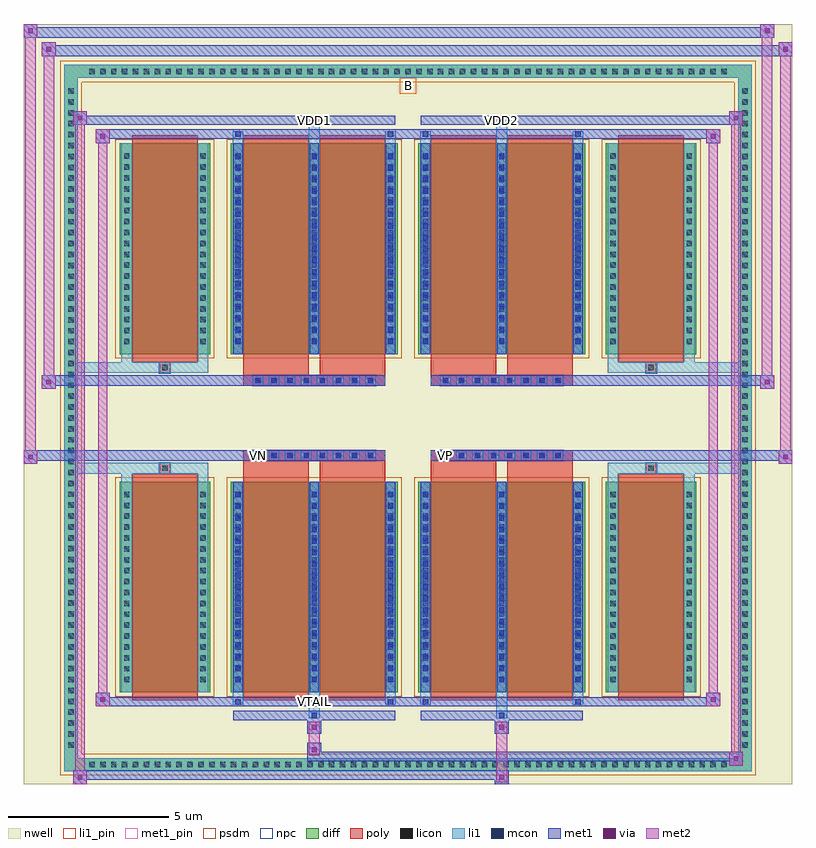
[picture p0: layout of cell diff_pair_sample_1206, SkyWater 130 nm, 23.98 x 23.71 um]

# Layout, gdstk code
import gdstk
lib = gdstk.Library(unit=1e-6, precision=5e-09)
def R(c, l, rs):  # rectangles x0, y0, x1, y1
    for r in rs: c.add(gdstk.rectangle(r[:2], r[2:], *l))
def A(c, l, x, y, w, h, nx, ny, dx, dy):  # array of equal rectangles
    R(c, l, [(x+i*dx, y+j*dy, x+i*dx+w, y+j*dy+h) for i in range(nx) for j in range(ny)])
def P(c, l, *ps):  # polygons
    for p in ps: c.add(gdstk.Polygon(p, *l))
nwell = (64, 20)
diff = (65, 20)
poly = (66, 20)
licon = (66, 44)
li1_pin = (67, 16)
li1 = (67, 20)
mcon = (67, 44)
met1_pin = (68, 16)
met1 = (68, 20)
via = (68, 44)
met2 = (69, 20)
psdm = (94, 20)
npc = (95, 20)

diff_pair_sample_1206 = lib.new_cell('diff_pair_sample_1206')
R(diff_pair_sample_1206, nwell, [(-11.99,-11.42,11.99,12.29), (-9.31,-9.61,-0.01,-0.805), (0.01,-9.61,9.31,-0.805), (-9.31,0.805,-0.01,9.61), (0.01,0.805,9.31,9.61)])
A(diff_pair_sample_1206, diff, -10.065, -11.02, 0.41, 0.41, 59, 2, 0.34, 21.63)
A(diff_pair_sample_1206, diff, -10.72, -10.405, 0.41, 0.41, 1, 61, 0, 0.34)
A(diff_pair_sample_1206, diff, 10.31, -10.405, 0.41, 0.41, 1, 61, 0, 0.34)
R(diff_pair_sample_1206, diff, [(-10.065,-11.02,10.065,-10.61), (-10.72,-10.405,-10.31,10.405), (10.31,-10.405,10.72,10.405), (-9,-8.565,-6.17,-1.985), (-5.53,-8.565,-0.32,-1.985), (0.32,-8.565,5.53,-1.985), (6.17,-8.565,9,-1.985), (-9,1.985,-6.17,8.565), (-5.53,1.985,-0.32,8.565), (0.32,1.985,5.53,8.565), (6.17,1.985,9,8.565), (-10.065,10.61,10.065,11.02)])
P(diff_pair_sample_1206, diff, [(10.72,11.02),(-10.72,11.02),(-10.72,-10.61),(-10.31,-10.61),(-10.31,10.61),(10.31,10.61),(10.31,-10.61),(-10.31,-10.61),(-10.72,-10.61),(-10.72,-11.02),(10.72,-11.02)])
A(diff_pair_sample_1206, poly, -4.84, -1.335, 0.33, 0.33, 8, 2, 0.5, 2.34)
A(diff_pair_sample_1206, poly, 1.01, -1.335, 0.33, 0.33, 8, 2, 0.5, 2.34)
R(diff_pair_sample_1206, poly, [(-8.61,-8.815,-6.56,-1.735), (-5.14,-8.815,-3.09,-1.735), (-2.76,-8.815,-0.71,-1.735), (0.71,-8.815,2.76,-1.735), (3.09,-8.815,5.14,-1.735), (6.56,-8.815,8.61,-1.735), (-7.75,-1.735,-7.42,-1.405), (-7.75,-1.735,-7.42,-1.405), (-5.14,-1.735,-3.09,-1.335), (-2.76,-1.735,-0.71,-1.335), (0.71,-1.735,2.76,-1.335), (3.09,-1.735,5.14,-1.335), (7.42,-1.735,7.75,-1.405), (7.42,-1.735,7.75,-1.405), (-5.14,-1.335,-0.71,-1.005), (0.71,-1.335,5.14,-1.005), (-5.14,1.005,-0.71,1.335), (0.71,1.005,5.14,1.335), (-5.14,1.335,-3.09,1.735), (-2.76,1.335,-0.71,1.735), (0.71,1.335,2.76,1.735), (3.09,1.335,5.14,1.735), (-7.75,1.405,-7.42,1.735), (-7.75,1.405,-7.42,1.735), (7.42,1.405,7.75,1.735), (7.42,1.405,7.75,1.735), (-8.61,1.735,-6.56,8.815), (-5.14,1.735,-3.09,8.815), (-2.76,1.735,-0.71,8.815), (0.71,1.735,2.76,8.815), (3.09,1.735,5.14,8.815), (6.56,1.735,8.61,8.815)])
A(diff_pair_sample_1206, licon, -9.945, -10.9, 0.17, 0.17, 59, 2, 0.34, 21.63)
A(diff_pair_sample_1206, licon, -10.6, -10.285, 0.17, 0.17, 1, 61, 0, 0.34)
A(diff_pair_sample_1206, licon, 10.43, -10.285, 0.17, 0.17, 1, 61, 0, 0.34)
A(diff_pair_sample_1206, licon, -8.86, -8.25, 0.17, 0.17, 1, 18, 0, 0.34)
A(diff_pair_sample_1206, licon, -6.48, -8.25, 0.17, 0.17, 1, 18, 0, 0.34)
A(diff_pair_sample_1206, licon, -5.39, -8.25, 0.17, 0.17, 3, 18, 2.38, 0.34)
A(diff_pair_sample_1206, licon, 0.46, -8.25, 0.17, 0.17, 3, 18, 2.38, 0.34)
A(diff_pair_sample_1206, licon, 6.31, -8.25, 0.17, 0.17, 1, 18, 0, 0.34)
A(diff_pair_sample_1206, licon, 8.69, -8.25, 0.17, 0.17, 1, 18, 0, 0.34)
A(diff_pair_sample_1206, licon, -4.76, -1.255, 0.17, 0.17, 8, 2, 0.5, 2.34)
A(diff_pair_sample_1206, licon, 1.09, -1.255, 0.17, 0.17, 8, 2, 0.5, 2.34)
A(diff_pair_sample_1206, licon, -8.86, 2.3, 0.17, 0.17, 1, 18, 0, 0.34)
A(diff_pair_sample_1206, licon, -6.48, 2.3, 0.17, 0.17, 1, 18, 0, 0.34)
A(diff_pair_sample_1206, licon, -5.39, 2.3, 0.17, 0.17, 3, 18, 2.38, 0.34)
A(diff_pair_sample_1206, licon, 0.46, 2.3, 0.17, 0.17, 3, 18, 2.38, 0.34)
A(diff_pair_sample_1206, licon, 6.31, 2.3, 0.17, 0.17, 1, 18, 0, 0.34)
A(diff_pair_sample_1206, licon, 8.69, 2.3, 0.17, 0.17, 1, 18, 0, 0.34)
R(diff_pair_sample_1206, licon, [(-7.67,-1.655,-7.5,-1.485), (7.5,-1.655,7.67,-1.485), (-7.67,1.485,-7.5,1.655), (7.5,1.485,7.67,1.655)])
R(diff_pair_sample_1206, li1_pin, [(-0.25,10.11,0.25,10.61)])
A(diff_pair_sample_1206, li1, -10.025, -10.98, 0.33, 0.33, 59, 2, 0.34, 21.63)
A(diff_pair_sample_1206, li1, -10.68, -10.365, 0.33, 0.33, 1, 61, 0, 0.34)
A(diff_pair_sample_1206, li1, 10.35, -10.365, 0.33, 0.33, 1, 61, 0, 0.34)
A(diff_pair_sample_1206, li1, -5.47, -8.565, 0.33, 6.58, 3, 2, 2.38, 10.55)
A(diff_pair_sample_1206, li1, 0.38, -8.565, 0.33, 6.58, 3, 2, 2.38, 10.55)
A(diff_pair_sample_1206, li1, -8.94, -8.33, 0.33, 0.33, 1, 18, 0, 0.34)
A(diff_pair_sample_1206, li1, -6.56, -8.33, 0.33, 0.33, 1, 18, 0, 0.34)
A(diff_pair_sample_1206, li1, -5.47, -8.33, 0.33, 0.33, 3, 18, 2.38, 0.34)
A(diff_pair_sample_1206, li1, 0.38, -8.33, 0.33, 0.33, 3, 18, 2.38, 0.34)
A(diff_pair_sample_1206, li1, 6.23, -8.33, 0.33, 0.33, 1, 18, 0, 0.34)
A(diff_pair_sample_1206, li1, 8.61, -8.33, 0.33, 0.33, 1, 18, 0, 0.34)
A(diff_pair_sample_1206, li1, -5.39, -8.24, 0.17, 0.17, 3, 17, 2.38, 0.36)
A(diff_pair_sample_1206, li1, -5.39, -8.24, 0.17, 5.93, 3, 2, 2.38, 10.55)
A(diff_pair_sample_1206, li1, 0.46, -8.24, 0.17, 0.17, 3, 17, 2.38, 0.36)
A(diff_pair_sample_1206, li1, 0.46, -8.24, 0.17, 5.93, 3, 2, 2.38, 10.55)
A(diff_pair_sample_1206, li1, -4.84, -1.335, 0.33, 0.33, 8, 2, 0.5, 2.34)
A(diff_pair_sample_1206, li1, 1.01, -1.335, 0.33, 0.33, 8, 2, 0.5, 2.34)
A(diff_pair_sample_1206, li1, -8.94, 2.22, 0.33, 0.33, 1, 18, 0, 0.34)
A(diff_pair_sample_1206, li1, -6.56, 2.22, 0.33, 0.33, 1, 18, 0, 0.34)
A(diff_pair_sample_1206, li1, -5.47, 2.22, 0.33, 0.33, 3, 18, 2.38, 0.34)
A(diff_pair_sample_1206, li1, 0.38, 2.22, 0.33, 0.33, 3, 18, 2.38, 0.34)
A(diff_pair_sample_1206, li1, 6.23, 2.22, 0.33, 0.33, 1, 18, 0, 0.34)
A(diff_pair_sample_1206, li1, 8.61, 2.22, 0.33, 0.33, 1, 18, 0, 0.34)
A(diff_pair_sample_1206, li1, -5.39, 2.31, 0.17, 0.17, 3, 17, 2.38, 0.36)
A(diff_pair_sample_1206, li1, 0.46, 2.31, 0.17, 0.17, 3, 17, 2.38, 0.36)
R(diff_pair_sample_1206, li1, [(-10.72,-11.02,-10.31,-10.61), (-10.72,-11.02,-10.31,-10.61), (-10.31,-11.02,10.31,-10.61), (10.31,-11.02,10.72,-10.61), (10.31,-11.02,10.72,-10.61), (-10.72,-10.61,-10.31,10.61), (10.31,-10.61,10.72,10.61), (-3.09,-9.37,-2.76,-8.565), (-3.01,-9.37,-2.84,-9.2), (2.76,-9.37,3.09,-8.565), (2.84,-9.37,3.01,-9.2), (-5.47,-8.94,-5.14,-8.565), (-5.39,-8.94,-5.22,-8.77), (-0.71,-8.94,-0.38,-8.565), (-0.63,-8.94,-0.46,-8.77), (0.38,-8.94,0.71,-8.565), (0.46,-8.94,0.63,-8.77), (5.14,-8.94,5.47,-8.565), (5.22,-8.94,5.39,-8.77), (-8.94,-8.565,-8.61,-1.985), (-6.56,-8.565,-6.23,-1.985), (6.23,-8.565,6.56,-1.985), (8.61,-8.565,8.94,-1.985), (-8.94,-1.985,-8.61,-1.405), (-6.56,-1.985,-6.23,-1.405), (6.23,-1.985,6.56,-1.405), (8.61,-1.985,8.94,-1.405), (-10.72,-1.735,-7.75,-1.405), (-8.94,-1.735,-7.75,-1.405), (-7.75,-1.735,-7.42,-1.405), (-7.42,-1.735,-6.23,-1.405), (6.23,-1.735,7.42,-1.405), (7.42,-1.735,7.75,-1.405), (7.42,-1.735,10.72,-1.405), (7.75,-1.735,8.94,-1.405), (-10.72,1.405,-7.75,1.735), (-8.94,1.405,-7.75,1.735), (-8.94,1.405,-8.61,1.985), (-7.75,1.405,-7.42,1.735), (-7.42,1.405,-6.23,1.735), (-6.56,1.405,-6.23,1.985), (6.23,1.405,7.42,1.735), (6.23,1.405,6.56,1.985), (7.42,1.405,7.75,1.735), (7.42,1.405,10.72,1.735), (7.75,1.405,8.94,1.735), (8.61,1.405,8.94,1.985), (-8.94,1.985,-8.61,8.565), (-6.56,1.985,-6.23,8.565), (6.23,1.985,6.56,8.565), (8.61,1.985,8.94,8.565), (-5.47,8.565,-5.14,8.94), (-3.09,8.565,-2.76,9.37), (-0.71,8.565,-0.38,8.94), (0.38,8.565,0.71,8.94), (2.76,8.565,3.09,9.37), (5.14,8.565,5.47,8.94), (-5.39,8.77,-5.22,8.94), (-0.63,8.77,-0.46,8.94), (0.46,8.77,0.63,8.94), (5.22,8.77,5.39,8.94), (-3.01,9.2,-2.84,9.37), (2.84,9.2,3.01,9.37), (-10.72,10.61,-10.31,11.02), (-10.72,10.61,-10.31,11.02), (-10.31,10.61,10.31,11.02), (10.31,10.61,10.72,11.02), (10.31,10.61,10.72,11.02)])
A(diff_pair_sample_1206, mcon, -5.39, -8.24, 0.17, 0.17, 3, 17, 2.38, 0.36)
A(diff_pair_sample_1206, mcon, 0.46, -8.24, 0.17, 0.17, 3, 17, 2.38, 0.36)
A(diff_pair_sample_1206, mcon, -4.76, -1.255, 0.17, 0.17, 8, 2, 0.5, 2.34)
A(diff_pair_sample_1206, mcon, 1.09, -1.255, 0.17, 0.17, 8, 2, 0.5, 2.34)
A(diff_pair_sample_1206, mcon, -5.39, 2.31, 0.17, 0.17, 3, 17, 2.38, 0.36)
A(diff_pair_sample_1206, mcon, 0.46, 2.31, 0.17, 0.17, 3, 17, 2.38, 0.36)
R(diff_pair_sample_1206, mcon, [(-3.01,-9.37,-2.84,-9.2), (2.84,-9.37,3.01,-9.2), (-5.39,-8.94,-5.22,-8.77), (-0.63,-8.94,-0.46,-8.77), (0.46,-8.94,0.63,-8.77), (5.22,-8.94,5.39,-8.77), (-5.39,8.77,-5.22,8.94), (-0.63,8.77,-0.46,8.94), (0.46,8.77,0.63,8.94), (5.22,8.77,5.39,8.94), (-3.01,9.2,-2.84,9.37), (2.84,9.2,3.01,9.37)])
R(diff_pair_sample_1206, met1_pin, [(-3.06,-8.98,-2.79,-8.71), (-4.81,-1.295,-4.54,-1.025), (1.04,-1.295,1.31,-1.025), (-3.06,9.16,-2.79,9.43), (2.79,9.16,3.06,9.43)])
A(diff_pair_sample_1206, met1, -5.45, -8.565, 0.29, 6.58, 3, 2, 2.38, 10.55)
A(diff_pair_sample_1206, met1, 0.4, -8.565, 0.29, 6.58, 3, 2, 2.38, 10.55)
A(diff_pair_sample_1206, met1, -5.45, -8.3, 0.29, 0.29, 3, 17, 2.38, 0.36)
A(diff_pair_sample_1206, met1, 0.4, -8.3, 0.29, 0.29, 3, 17, 2.38, 0.36)
A(diff_pair_sample_1206, met1, -4.82, -1.315, 0.29, 0.29, 8, 2, 0.5, 2.34)
A(diff_pair_sample_1206, met1, 1.03, -1.315, 0.29, 0.29, 8, 2, 0.5, 2.34)
A(diff_pair_sample_1206, met1, -5.45, 2.25, 0.29, 0.29, 3, 17, 2.38, 0.36)
A(diff_pair_sample_1206, met1, 0.4, 2.25, 0.29, 0.29, 3, 17, 2.38, 0.36)
R(diff_pair_sample_1206, met1, [(-10.45,-11.42,-10.02,-10.99), (2.71,-11.42,3.14,-10.99), (-10.45,-11.28,3.14,-10.99), (10.02,-10.85,10.45,-10.42), (-3.14,-10.71,10.45,-10.42), (-3.14,-10.57,-2.71,-10.14), (-3.14,-9.86,-2.71,-9.43), (2.71,-9.86,3.14,-9.43), (-5.45,-9.43,-0.4,-9.14), (-3.07,-9.43,-2.78,-9.14), (0.4,-9.43,5.45,-9.14), (2.78,-9.43,3.07,-9.14), (-9.74,-9,-9.31,-8.57), (-9.74,-9,-5.45,-8.71), (-5.45,-9,-5.16,-8.71), (-5.45,-9,-0.4,-8.71), (-0.69,-9,-0.4,-8.71), (-0.4,-9,0.4,-8.71), (0.4,-9,0.69,-8.71), (0.4,-9,5.45,-8.71), (5.16,-9,5.45,-8.71), (5.45,-9,9.74,-8.71), (9.31,-9,9.74,-8.57), (-11.99,-1.435,-11.56,-1.005), (11.56,-1.435,11.99,-1.005), (-11.99,-1.335,-0.71,-1.005), (-5.14,-1.335,-0.71,-1.005), (0.71,-1.335,5.14,-1.005), (0.71,-1.335,11.99,-1.005), (-11.42,0.905,-10.99,1.335), (10.99,0.905,11.42,1.335), (-11.42,1.005,-5.14,1.335), (-5.14,1.005,-0.71,1.335), (0.71,1.005,5.14,1.335), (5.14,1.005,11.42,1.335), (-9.74,8.57,-9.31,9), (9.31,8.57,9.74,9), (-9.74,8.71,-5.45,9), (-5.45,8.71,-5.16,9), (-5.45,8.71,-0.4,9), (-0.69,8.71,-0.4,9), (-0.4,8.71,0.4,9), (0.4,8.71,0.69,9), (0.4,8.71,5.45,9), (5.16,8.71,5.45,9), (5.45,8.71,9.74,9), (-10.45,9.14,-10.02,9.57), (-10.45,9.14,-5.45,9.43), (-5.45,9.14,-0.4,9.43), (-3.07,9.14,-2.78,9.43), (0.4,9.14,5.45,9.43), (2.78,9.14,3.07,9.43), (5.45,9.14,10.45,9.43), (10.02,9.14,10.45,9.57), (-11.42,11.29,-10.99,11.72), (-11.42,11.29,-9.31,11.62), (-9.31,11.29,9.31,11.62), (9.31,11.29,11.99,11.62), (11.56,11.29,11.99,11.72), (-11.99,11.86,-11.56,12.29), (-11.99,11.86,-9.31,12.19), (-9.31,11.86,9.31,12.19), (9.31,11.86,11.42,12.19), (10.99,11.86,11.42,12.29)])
R(diff_pair_sample_1206, via, [(-10.31,-11.28,-10.16,-11.13), (2.85,-11.28,3,-11.13), (10.16,-10.71,10.31,-10.56), (-3,-10.43,-2.85,-10.28), (-3,-9.72,-2.85,-9.57), (2.85,-9.72,3,-9.57), (-9.6,-8.86,-9.45,-8.71), (9.45,-8.86,9.6,-8.71), (-11.85,-1.295,-11.7,-1.145), (11.7,-1.295,11.85,-1.145), (-11.28,1.045,-11.13,1.195), (11.13,1.045,11.28,1.195), (-9.6,8.71,-9.45,8.86), (9.45,8.71,9.6,8.86), (-10.31,9.28,-10.16,9.43), (10.16,9.28,10.31,9.43), (-11.28,11.43,-11.13,11.58), (11.7,11.43,11.85,11.58), (-11.85,12,-11.7,12.15), (11.13,12,11.28,12.15)])
R(diff_pair_sample_1206, met2, [(-10.45,-11.42,-10.02,-10.99), (-10.38,-11.42,-10.09,9.57), (-10.09,-11.42,-10.02,-10.99), (-10.4,-11.37,-10.07,-11.04), (2.76,-11.37,3.09,-11.04), (2.76,-11.04,3.09,-9.81), (10.02,-10.85,10.45,-10.42), (10.09,-10.85,10.38,9.57), (10.38,-10.85,10.45,-10.42), (10.07,-10.8,10.4,-10.47), (-3.09,-10.52,-2.76,-10.19), (-3.09,-10.19,-2.76,-9.81), (-3.09,-9.81,-2.76,-9.48), (2.76,-9.81,3.09,-9.48), (-9.74,-9,-9.31,-8.57), (-9.67,-9,-9.38,9), (-9.38,-9,-9.31,-8.57), (9.31,-9,9.74,-8.57), (9.38,-9,9.67,9), (9.67,-9,9.74,-8.57), (-9.69,-8.95,-9.36,-8.62), (9.36,-8.95,9.69,-8.62), (-11.99,-1.435,-11.56,-1.005), (-11.94,-1.435,-11.61,12.29), (-11.61,-1.435,-11.56,-1.005), (11.56,-1.435,11.99,-1.005), (11.61,-1.435,11.94,11.72), (11.94,-1.435,11.99,-1.005), (-11.94,-1.385,-11.61,-1.055), (11.61,-1.385,11.94,-1.055), (-11.42,0.905,-10.99,1.335), (-11.37,0.905,-11.04,11.72), (-11.04,0.905,-10.99,1.335), (10.99,0.905,11.42,1.335), (11.04,0.905,11.37,12.29), (11.37,0.905,11.42,1.335), (-11.37,0.955,-11.04,1.285), (11.04,0.955,11.37,1.285), (-9.74,8.57,-9.31,9), (-9.38,8.57,-9.31,9), (9.31,8.57,9.74,9), (9.67,8.57,9.74,9), (-9.69,8.62,-9.36,8.95), (9.36,8.62,9.69,8.95), (-10.45,9.14,-10.02,9.57), (-10.09,9.14,-10.02,9.57), (10.02,9.14,10.45,9.57), (10.38,9.14,10.45,9.57), (-10.4,9.19,-10.07,9.52), (10.07,9.19,10.4,9.52), (-11.42,11.29,-10.99,11.72), (-11.04,11.29,-10.99,11.72), (11.56,11.29,11.99,11.72), (11.94,11.29,11.99,11.72), (-11.37,11.34,-11.04,11.67), (11.61,11.34,11.94,11.67), (-11.99,11.86,-11.56,12.29), (-11.61,11.86,-11.56,12.29), (10.99,11.86,11.42,12.29), (11.37,11.86,11.42,12.29), (-11.94,11.91,-11.61,12.24), (11.04,11.91,11.37,12.24)])
R(diff_pair_sample_1206, psdm, [(-9.13,-8.695,-6.04,-1.855), (-5.66,-8.695,-0.19,-1.855), (0.19,-8.695,5.66,-1.855), (6.04,-8.695,9.13,-1.855), (-9.13,1.855,-6.04,8.695), (-5.66,1.855,-0.19,8.695), (0.19,1.855,5.66,8.695), (6.04,1.855,9.13,8.695)])
P(diff_pair_sample_1206, psdm, [(10.85,11.15),(-10.85,11.15),(-10.85,-10.48),(-10.18,-10.48),(-10.18,10.48),(10.18,10.48),(10.18,-10.48),(-10.18,-10.48),(-10.85,-10.48),(-10.85,-11.15),(10.85,-11.15)])
A(diff_pair_sample_1206, npc, -4.86, -1.355, 0.37, 0.37, 8, 2, 0.5, 2.34)
A(diff_pair_sample_1206, npc, 0.99, -1.355, 0.37, 0.37, 8, 2, 0.5, 2.34)
R(diff_pair_sample_1206, npc, [(-7.77,-1.755,-7.4,-1.385), (7.4,-1.755,7.77,-1.385), (-4.86,-1.355,-3.99,-0.985), (-4.86,-1.355,-3.99,-0.985), (-4.36,-1.355,-3.49,-0.985), (-4.36,-1.355,-3.49,-0.985), (-3.86,-1.355,-2.99,-0.985), (-3.86,-1.355,-2.99,-0.985), (-3.36,-1.355,-2.49,-0.985), (-3.36,-1.355,-2.49,-0.985), (-2.86,-1.355,-1.99,-0.985), (-2.86,-1.355,-1.99,-0.985), (-2.36,-1.355,-1.49,-0.985), (-2.36,-1.355,-1.49,-0.985), (-1.86,-1.355,-0.99,-0.985), (-1.86,-1.355,-0.99,-0.985), (0.99,-1.355,1.86,-0.985), (0.99,-1.355,1.86,-0.985), (1.49,-1.355,2.36,-0.985), (1.49,-1.355,2.36,-0.985), (1.99,-1.355,2.86,-0.985), (1.99,-1.355,2.86,-0.985), (2.49,-1.355,3.36,-0.985), (2.49,-1.355,3.36,-0.985), (2.99,-1.355,3.86,-0.985), (2.99,-1.355,3.86,-0.985), (3.49,-1.355,4.36,-0.985), (3.49,-1.355,4.36,-0.985), (3.99,-1.355,4.86,-0.985), (3.99,-1.355,4.86,-0.985), (-4.86,0.985,-3.99,1.355), (-4.86,0.985,-3.99,1.355), (-4.36,0.985,-3.49,1.355), (-4.36,0.985,-3.49,1.355), (-3.86,0.985,-2.99,1.355), (-3.86,0.985,-2.99,1.355), (-3.36,0.985,-2.49,1.355), (-3.36,0.985,-2.49,1.355), (-2.86,0.985,-1.99,1.355), (-2.86,0.985,-1.99,1.355), (-2.36,0.985,-1.49,1.355), (-2.36,0.985,-1.49,1.355), (-1.86,0.985,-0.99,1.355), (-1.86,0.985,-0.99,1.355), (0.99,0.985,1.86,1.355), (0.99,0.985,1.86,1.355), (1.49,0.985,2.36,1.355), (1.49,0.985,2.36,1.355), (1.99,0.985,2.86,1.355), (1.99,0.985,2.86,1.355), (2.49,0.985,3.36,1.355), (2.49,0.985,3.36,1.355), (2.99,0.985,3.86,1.355), (2.99,0.985,3.86,1.355), (3.49,0.985,4.36,1.355), (3.49,0.985,4.36,1.355), (3.99,0.985,4.86,1.355), (3.99,0.985,4.86,1.355), (-7.77,1.385,-7.4,1.755), (7.4,1.385,7.77,1.755)])
diff_pair_sample_1206.add(gdstk.Label('VTAIL', (-2.925,-8.845), layer=68, texttype=5))
diff_pair_sample_1206.add(gdstk.Label('VN', (-4.675,-1.16), layer=68, texttype=5))
diff_pair_sample_1206.add(gdstk.Label('VP', (1.175,-1.16), layer=68, texttype=5))
diff_pair_sample_1206.add(gdstk.Label('B', (0,10.36), layer=67, texttype=5))
diff_pair_sample_1206.add(gdstk.Label('VDD2', (2.925,9.295), layer=68, texttype=5))
diff_pair_sample_1206.add(gdstk.Label('VDD1', (-2.925,9.295), layer=68, texttype=5))

lib.write_gds('diff_pair_sample_1206.gds')
